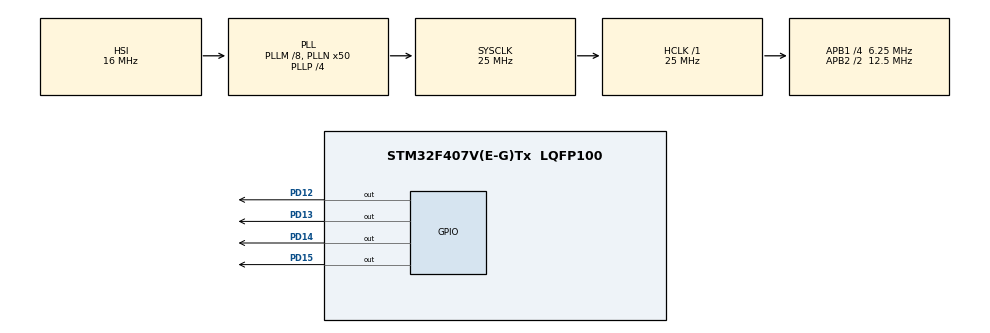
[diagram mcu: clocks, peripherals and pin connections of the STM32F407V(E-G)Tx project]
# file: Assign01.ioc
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Mcu.Family=STM32F4
Mcu.Name=STM32F407V(E-G)Tx
Mcu.Package=LQFP100
NVIC.PriorityGroup=NVIC_PRIORITYGROUP_4
NVIC.TIM1_UP_TIM10_IRQn=true\:0\:0\:false\:false\:true\:false\:true\:true
NVIC.TimeBase=TIM1_UP_TIM10_IRQn
NVIC.TimeBaseIP=TIM1
PD12.Signal=GPIO_Output
PD13.Signal=GPIO_Output
PD14.Signal=GPIO_Output
PD15.Signal=GPIO_Output
ProjectManager.HeapSize=0x200
ProjectManager.StackSize=0x400
ProjectManager.TargetToolchain=STM32CubeIDE
RCC.48MHZClocksFreq_Value=14285714.285714285
RCC.AHBFreq_Value=25000000
RCC.APB1CLKDivider=RCC_HCLK_DIV4
RCC.APB1Freq_Value=6250000
RCC.APB1TimFreq_Value=12500000
RCC.APB2CLKDivider=RCC_HCLK_DIV2
RCC.APB2Freq_Value=12500000
RCC.APB2TimFreq_Value=25000000
RCC.CortexFreq_Value=25000000
RCC.HCLKFreq_Value=25000000
RCC.HSE_VALUE=8000000
RCC.HSI_VALUE=16000000
RCC.LSE_VALUE=32768
RCC.PLLM=8
RCC.PLLN=50
RCC.PLLP=RCC_PLLP_DIV4
RCC.PLLQ=7
RCC.SYSCLKFreq_VALUE=25000000
RCC.SYSCLKSource=RCC_SYSCLKSOURCE_PLLCLK
RCC.VCOOutputFreq_Value=100000000
VP_SYS_VS_tim1.Mode=TIM1
board=STM32F407G-DISC1

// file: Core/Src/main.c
/* USER CODE BEGIN Header */
/**
  ******************************************************************************
  * @file           : main.c
  * @brief          : Main program body
  ******************************************************************************
  * @attention
  *
  * Copyright (c) 2024 STMicroelectronics.
  * All rights reserved.
  *
  * This software is licensed under terms that can be found in the LICENSE file
  * in the root directory of this software component.
  * If no LICENSE file comes with this software, it is provided AS-IS.
  *
  ******************************************************************************
  */
/* USER CODE END Header */
#include "main.h"

/* USER CODE BEGIN Includes */
#include "FreeRTOS.h"
#include  "FreeRTOSConfig.h"
#include "task.h"
/* USER CODE END Includes */

/* USER CODE BEGIN PTD */
void vAperiodicTask(void *pvParam)
{
	while(1)
	{
		HAL_GPIO_TogglePin(GPIOD, GPIO_PIN_13);
		vTaskDelay(1000 / portTICK_RATE_MS);
	}
	vTaskDelete(NULL);
}

void vPeriodicTask(void *pvParam)
{
	portTickType wakeupTime = xTaskGetTickCount();
	while(1)
	{
		HAL_GPIO_TogglePin(GPIOD, GPIO_PIN_14);
		vTaskDelayUntil(&wakeupTime ,1000 / portTICK_RATE_MS);
	}
	vTaskDelete(NULL);
}

void vAperiodicTask1(void *pvParam)
{
	while(1)
	{
		HAL_GPIO_TogglePin(GPIOD, GPIO_PIN_12);
		vTaskDelay(1000 / portTICK_RATE_MS);
	}
	vTaskDelete(NULL);
}

void vPeriodicTask1(void *pvParam)
{
	portTickType wakeupTime = xTaskGetTickCount();
	while(1)
	{
		HAL_GPIO_TogglePin(GPIOD, GPIO_PIN_15);
		vTaskDelayUntil(&wakeupTime ,1000 / portTICK_RATE_MS);
	}
	vTaskDelete(NULL);
}
/* USER CODE END PTD */

void SystemClock_Config(void);
static void MX_GPIO_Init(void);

int main(void)
{

  /* USER CODE BEGIN 1 */
	BaseType_t ret;
  /* USER CODE END 1 */

  /* MCU Configuration--------------------------------------------------------*/

  /* Reset of all peripherals, Initializes the Flash interface and the Systick. */
  HAL_Init();

  /* Configure the system clock */
  SystemClock_Config();

  /* Initialize all configured peripherals */
  MX_GPIO_Init();
  /* USER CODE BEGIN 2 */
  ret = xTaskCreate(vPeriodicTask, "Periodic", configMINIMAL_STACK_SIZE, NULL, 2, NULL);
      if(ret != pdTRUE)
    	  Error_Handler();
      ret = xTaskCreate(vAperiodicTask, "Aperiodic", configMINIMAL_STACK_SIZE, NULL, 2, NULL);
      if(ret != pdTRUE)
      	  Error_Handler();

      ret = xTaskCreate(vPeriodicTask1, "Periodic", configMINIMAL_STACK_SIZE, NULL, 2, NULL);
          if(ret != pdTRUE)
        	  Error_Handler();
          ret = xTaskCreate(vAperiodicTask1, "Aperiodic", configMINIMAL_STACK_SIZE, NULL, 2, NULL);
          if(ret != pdTRUE)
          	  Error_Handler();

      vTaskStartScheduler();
  /* USER CODE END 2 */

  /* Infinite loop */
  while (1)
  {

  }
}

void SystemClock_Config(void)
{
  RCC_OscInitTypeDef RCC_OscInitStruct = {0};
  RCC_ClkInitTypeDef RCC_ClkInitStruct = {0};

  /** Configure the main internal regulator output voltage
  */
  __HAL_RCC_PWR_CLK_ENABLE();
  __HAL_PWR_VOLTAGESCALING_CONFIG(PWR_REGULATOR_VOLTAGE_SCALE1);

  /** Initializes the RCC Oscillators according to the specified parameters
  * in the RCC_OscInitTypeDef structure.
  */
  RCC_OscInitStruct.OscillatorType = RCC_OSCILLATORTYPE_HSI;
  RCC_OscInitStruct.HSIState = RCC_HSI_ON;
  RCC_OscInitStruct.HSICalibrationValue = RCC_HSICALIBRATION_DEFAULT;
  RCC_OscInitStruct.PLL.PLLState = RCC_PLL_ON;
  RCC_OscInitStruct.PLL.PLLSource = RCC_PLLSOURCE_HSI;
  RCC_OscInitStruct.PLL.PLLM = 8;
  RCC_OscInitStruct.PLL.PLLN = 50;
  RCC_OscInitStruct.PLL.PLLP = RCC_PLLP_DIV4;
  RCC_OscInitStruct.PLL.PLLQ = 7;
  if (HAL_RCC_OscConfig(&RCC_OscInitStruct) != HAL_OK)
  {
    Error_Handler();
  }

  /** Initializes the CPU, AHB and APB buses clocks
  */
  RCC_ClkInitStruct.ClockType = RCC_CLOCKTYPE_HCLK|RCC_CLOCKTYPE_SYSCLK
                              |RCC_CLOCKTYPE_PCLK1|RCC_CLOCKTYPE_PCLK2;
  RCC_ClkInitStruct.SYSCLKSource = RCC_SYSCLKSOURCE_PLLCLK;
  RCC_ClkInitStruct.AHBCLKDivider = RCC_SYSCLK_DIV1;
  RCC_ClkInitStruct.APB1CLKDivider = RCC_HCLK_DIV4;
  RCC_ClkInitStruct.APB2CLKDivider = RCC_HCLK_DIV2;

  if (HAL_RCC_ClockConfig(&RCC_ClkInitStruct, FLASH_LATENCY_0) != HAL_OK)
  {
    Error_Handler();
  }
}

static void MX_GPIO_Init(void)
{
  GPIO_InitTypeDef GPIO_InitStruct = {0};

  /* GPIO Ports Clock Enable */
  __HAL_RCC_GPIOD_CLK_ENABLE();

  /*Configure GPIO pin Output Level */
  HAL_GPIO_WritePin(GPIOD, GPIO_PIN_12|GPIO_PIN_13|GPIO_PIN_14|GPIO_PIN_15, GPIO_PIN_RESET);

  /*Configure GPIO pins : PD12 PD13 PD14 PD15 */
  GPIO_InitStruct.Pin = GPIO_PIN_12|GPIO_PIN_13|GPIO_PIN_14|GPIO_PIN_15;
  GPIO_InitStruct.Mode = GPIO_MODE_OUTPUT_PP;
  GPIO_InitStruct.Pull = GPIO_NOPULL;
  GPIO_InitStruct.Speed = GPIO_SPEED_FREQ_LOW;
  HAL_GPIO_Init(GPIOD, &GPIO_InitStruct);

}

void HAL_TIM_PeriodElapsedCallback(TIM_HandleTypeDef *htim)
{
  if (htim->Instance == TIM1) {
    HAL_IncTick();
  }
}

void Error_Handler(void)
{
  __disable_irq();
  while (1)
  {
  }
}
